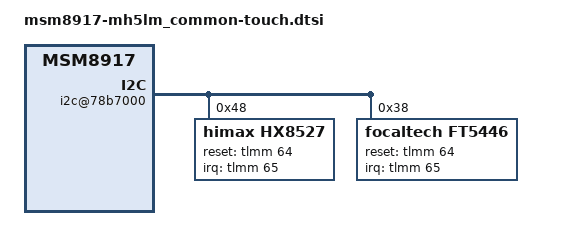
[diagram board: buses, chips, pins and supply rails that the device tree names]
/*
 * Copyright (c) 2015-2018, The Linux Foundation. All rights reserved.
 *
 * This program is free software; you can redistribute it and/or modify
 * it under the terms of the GNU General Public License version 2 and
 * only version 2 as published by the Free Software Foundation.
 *
 * This program is distributed in the hope that it will be useful,
 * but WITHOUT ANY WARRANTY; without even the implied warranty of
 * MERCHANTABILITY or FITNESS FOR A PARTICULAR PURPOSE.  See the
 * GNU General Public License for more details.
 */

&soc {
	i2c@78b7000 { /* BLSP1 QUP3 */
		status = "okay";
		qcom,clk-freq-out = <400000>;

		himax@48 {
			compatible = "himax,hx8527";
			status = "okay";

			reg = <0x48>;
			interrupt-parent = <&tlmm>;
			interrupts = <65 0x2002>;
			irqflags = <0x2002>;

			reset-gpio = <&tlmm 64 0x0>;
			irq-gpio = <&tlmm 65 0x2002>;
			pinctrl-names = "touch_pin_active", "touch_pin_sleep";   /* Touch GPIO pin name setting */
			pinctrl-0 = <&ts_int_active &ts_reset_active>;	/* Touch GPIO pin active setting */
			pinctrl-1 = <&ts_int_suspend &ts_reset_suspend>;  /* Touch GPIO pin suspend setting */

			/*Caps*/
			max_x = <720>;
			max_y = <1440>;
			max_pressure = <0xff>;
			max_width = <15>;
			max_orientation = <1>;
			max_id = <10>;
			hw_reset_delay = <20>;

			/* Role */
			use_lpwg = <1>;
			use_lpwg_test = <1>;
			hide_coordinate = <1>;

			/* firmware & panel_spec path */
			fw_image = "touch/mh5lm/himax/HX8527_LGE_MH5_V_00_20_CFG06.bin";
		};


		ft5446@38 {
			compatible = "focaltech,ft5446";
			status = "ok";

			reg = <0x38>;
			interrupt-parent = <&tlmm>;
			interrupts = <65 0x2002>;
			irqflags = <0x2002>;

			reset-gpio = <&tlmm 64 0x0>;
			irq-gpio = <&tlmm 65 0x2002>;
			pinctrl-names = "touch_pin_active", "touch_pin_sleep";   /* Touch GPIO pin name setting */
			pinctrl-0 = <&ts_int_active &ts_reset_active>;	/* Touch GPIO pin active setting */
			pinctrl-1 = <&ts_int_suspend &ts_reset_suspend>;  /* Touch GPIO pin suspend setting */

			/*Caps*/
			max_x = <720>;
			max_y = <1440>;
			max_pressure = <0xff>;
			max_width_major = <15>;
			max_width_minor = <15>;
			max_orientation = <1>;
			max_id = <10>;
			sw_reset_delay = <200>;
			hw_reset_delay = <200>;

			/* Role */
			use_lpwg = <1>;
			use_lpwg_test = <1>;
			hide_coordinate = <1>;


			/* firmware & panel_spec path */
			use_fw_upgrade = <1>;

			fw_image = "touch/mh5lm/focaltech/FT5X46DQS_Pramboot_v0.5_20151012.bin",
					 "touch/mh5lm/focaltech/LGE_MH5_FT5446_Ver0.20_Ver0x14_20200120_all.bin";

			panel_spec = "touch/mh5lm/focaltech/mh5_limit.txt";
			panel_spec_mfts_folder = "touch/mh5lm/focaltech/mh5_limit_mfts.txt";

			/* Performance Test */
			use_perf_test = <1>;
			test_delay = <16>;
			test_pressure = <50>;
			test_width = <100>;
			test_jig_size = <8>;
			click_test_x = <90>;
			click_test_y = <410>;
			v_drag_test_x = <72>;
			v_drag_test_start_y = <971>;
			v_drag_test_end_y = <548>;
			h_drag_test_start_x = <571>;
			h_drag_test_end_x = <148>;
			h_drag_test_y = <1064>;

			/* ft8006m specific */
			focaltech,name = "fts";
			focaltech,family-id = <0x54>;
			focaltech,display-coords = <0 0 480 854>;
			focaltech,panel-coords = <0 0 1080 2000>;
			focaltech,button-map= <70 150 907>;
			focaltech,no-force-update;
			focaltech,i2c-pull-up;
			focaltech,group-id = <1>;
			focaltech,hard-reset-delay-ms = <20>;
			focaltech,soft-reset-delay-ms = <150>;
			focaltech,num-max-touches = <10>;
			focaltech,fw-name = "FT_Upgrade_App.i";
			focaltech,fw-delay-aa-ms = <50>;
			focaltech,fw-delay-55-ms = <30>;
			focaltech,fw-upgrade-id1 = <0x79>;
			focaltech,fw-upgrade-id2 = <0x03>;
			focaltech,fw-delay-readid-ms = <10>;
			focaltech,fw-delay-era-flsh-ms = <2000>;
		};
	};
};
